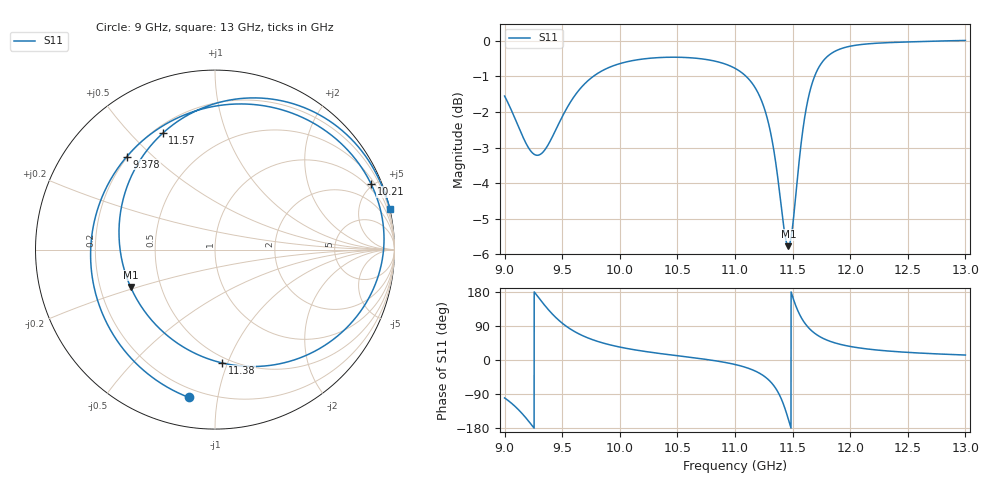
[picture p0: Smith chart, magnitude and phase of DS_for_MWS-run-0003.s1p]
! TOUCHSTONE file generated by CST DESIGN STUDIO
! Date and time: Tue Feb  4 17:51:48 2025
! Project name: C:\Work\MatlabApps\UnitCellOptimizationMatlab\CST\unitcell.cst
! Tree item: Tasks\Sweep1\SPara1\S-Parameters
! Header version: 2024
! Port assignment regex: !\s*Touchstone port\s*([0-9]+)\s*=\s*(CST MWS port|CST DES external port|CST DES block port)\s*(.+)\s* \(\"(.*)\"\)(\s*mode\s*([0-9]+))?.*
! Touchstone port assignment:
! Touchstone port 1 = CST DES external port 1 ("")
# GHz S MA R 50
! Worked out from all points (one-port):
!   4001 points, 9 GHz to 13 GHz, reference 50 ohm
!   lowest |S11| = -5.8 dB at 11.46 GHz (marker M1), VSWR 3.12, Z = 16.7 - j9.42 ohm
!   |S11| at or under -10 dB: nowhere
!   S11 on the Smith chart (normalised r, x): 9 GHz: 0.15, -0.83; 9.378 GHz: 0.20, +0.42; 10.21 GHz: 0.73, +4.84; 11.38 GHz: 0.45, -0.96; 11.57 GHz: 0.24, +0.62; 13 GHz: -0.04, +8.71
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9  0.8362 -100.1
9.106  0.7668 -126.8
9.217  0.7035 -164.7
9.294  0.6907 165.1
9.378  0.7143 133.5
9.5  0.7819 97.2
9.595  0.8311 77.2
9.724  0.8789 58.1
9.85  0.9081 45.2
10  0.9287 34.1
10.212  0.9432 22.9
10.5  0.9481 11.3
11  0.9148 -11.8
11.132  0.8786 -23.6
11.229  0.8249 -37.9
11.305  0.7482 -56.3
11.376  0.6331 -86.3
11.42  0.5529 -116.3
11.463  0.5145 -156.2
11.5  0.5484 167.0
11.532  0.6169 139.8
11.571  0.7106 114.2
11.641  0.8375 84.3
11.748  0.9289 59.6
11.856  0.9643 46.2
12  0.9826 35.7
12.5  0.9962 20.1
13  1.001 13.1
